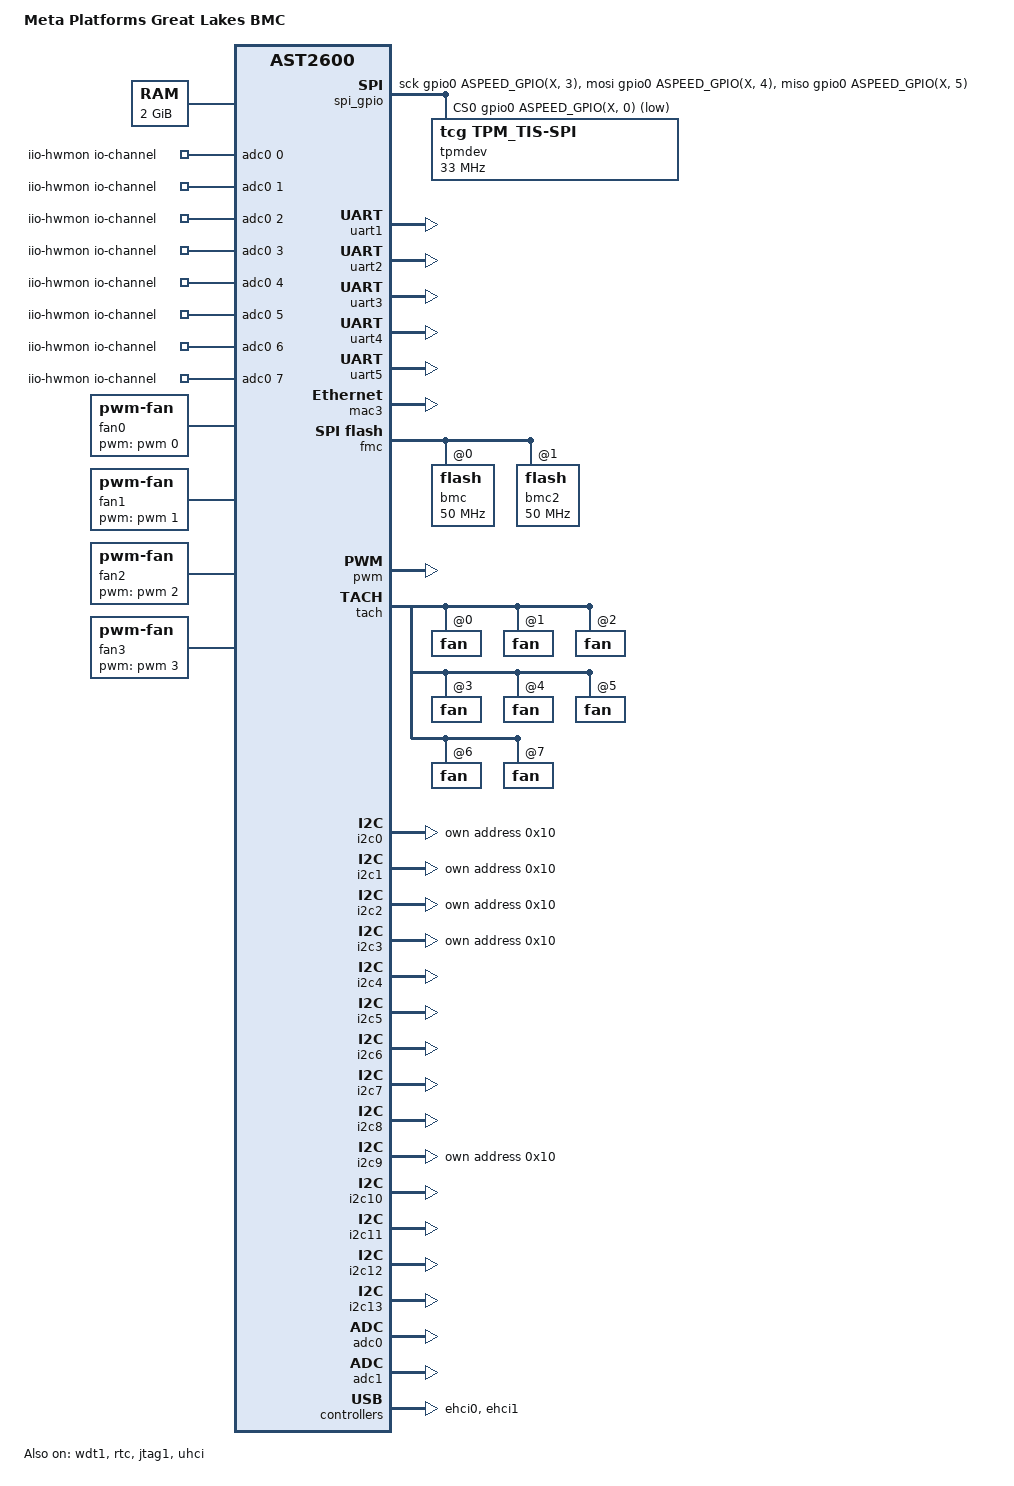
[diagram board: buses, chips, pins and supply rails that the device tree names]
// SPDX-License-Identifier: GPL-2.0-or-later

/dts-v1/;
#include "aspeed-g6.dtsi"
#include <dt-bindings/gpio/aspeed-gpio.h>
#include <dt-bindings/i2c/i2c.h>
#include <dt-bindings/leds/leds-pca955x.h>

/ {
	model = "Meta Platforms Great Lakes BMC";
	compatible = "aspeed,ast2600";

	aliases {
		serial4 = &uart5;
	};

	chosen {
		stdout-path = &uart5;
		bootargs = "console=ttyS4,57600n8 root=/dev/ram rw vmalloc=384M";
	};

	memory@80000000 {
		device_type = "memory";
		reg = <0x80000000 0x80000000>;
	};

	iio-hwmon {
		compatible = "iio-hwmon";
		io-channels = <&adc0 0>, <&adc0 1>, <&adc0 2>, <&adc0 3>,
			      <&adc0 4>, <&adc0 5>, <&adc0 6>, <&adc0 7>,
			      <&adc1 0>, <&adc1 2>, <&adc1 3>, <&adc1 4>,
			      <&adc1 5>, <&adc1 6>;
	};

        fan0: pwm-fan0 {
                compatible = "pwm-fan";
                pwms = <&pwm 0 40000 0>;        /* Target freq:25 kHz */
                cooling-min-state = <0>;
                cooling-max-state = <3>;
                #cooling-cells = <2>;
                cooling-levels = <0 25 128 255>;
        };

        fan1: pwm-fan1 {
                compatible = "pwm-fan";
                pwms = <&pwm 1 40000 0>;        /* Target freq:25 kHz */
                cooling-min-state = <0>;
                cooling-max-state = <3>;
                #cooling-cells = <2>;
                cooling-levels = <0 15 128 255>;
        };

        fan2: pwm-fan2 {
                compatible = "pwm-fan";
                pwms = <&pwm 2 40000 0>;        /* Target freq:25 kHz */
                cooling-min-state = <0>;
                cooling-max-state = <3>;
                #cooling-cells = <2>;
                cooling-levels = <0 15 128 255>;
        };

        fan3: pwm-fan3 {
                compatible = "pwm-fan";
                pwms = <&pwm 3 40000 0>;        /* Target freq:25 kHz */
                cooling-min-state = <0>;
                cooling-max-state = <3>;
                #cooling-cells = <2>;
                cooling-levels = <0 15 128 255>;
        };

        spi_gpio: spi-gpio {
                status = "okay";
                compatible = "spi-gpio";
                #address-cells = <1>;
                #size-cells = <0>;

                gpio-sck = <&gpio0 ASPEED_GPIO(X, 3) GPIO_ACTIVE_HIGH>;
                gpio-mosi = <&gpio0 ASPEED_GPIO(X, 4) GPIO_ACTIVE_HIGH>;
                gpio-miso = <&gpio0 ASPEED_GPIO(X, 5) GPIO_ACTIVE_HIGH>;
                num-chipselects = <1>;
                cs-gpios = <&gpio0 ASPEED_GPIO(X, 0) GPIO_ACTIVE_LOW>;

                tpmdev@0 {
                        compatible = "tcg,tpm_tis-spi";
                        spi-max-frequency = <33000000>;
                        reg = <0>;
                };
        };
};

&uart1 {
	status = "okay";
};

&uart2 {
	status = "okay";
};

&uart3 {
	status = "okay";
};

&uart4 {
	status = "okay";
};

&uart5 {
	status = "okay";
};

&wdt1 {
	status = "okay";
	pinctrl-names = "default";
	pinctrl-0 = <&pinctrl_wdtrst1_default>;
	aspeed,reset-type = "soc";
	aspeed,external-signal;
	aspeed,ext-push-pull;
	aspeed,ext-active-high;
	aspeed,ext-pulse-duration = <256>;
};

&mac3 {
	status = "okay";

	pinctrl-names = "default";
	pinctrl-0 = <&pinctrl_rmii4_default>;
	no-hw-checksum;
	use-ncsi;
	mlx,multi-host;
	ncsi-ctrl,start-redo-probe;
	ncsi-ctrl,no-channel-monitor;
	ncsi-package = <1>;
	ncsi-channel = <1>;
	ncsi-rexmit = <1>;
	ncsi-timeout = <2>;
};

&rtc {
	status = "okay";
};

&fmc {
	status = "okay";
	flash@0 {
		status = "okay";
		m25p,fast-read;
		label = "bmc";
		spi-rx-bus-width = <4>;
		spi-max-frequency = <50000000>;
#include "openbmc-flash-layout-64.dtsi"
	};

	flash@1 {
		status = "okay";
		m25p,fast-read;
		label = "bmc2";
		spi-rx-bus-width = <4>;
		spi-max-frequency = <50000000>;
	};
};

&pwm {
        status = "okay";
        pinctrl-names = "default";
        pinctrl-0 = <&pinctrl_pwm0_default
                     &pinctrl_pwm1_default
                     &pinctrl_pwm2_default
                     &pinctrl_pwm3_default>;
};

&tach {
        status = "okay";
        pinctrl-names = "default";
        pinctrl-0 = <&pinctrl_tach0_default
                     &pinctrl_tach1_default
                     &pinctrl_tach2_default
                     &pinctrl_tach3_default
                     &pinctrl_tach4_default
                     &pinctrl_tach5_default
                     &pinctrl_tach6_default
                     &pinctrl_tach7_default>;
        fan@0 {
                aspeed,min-rpm = <30>;
                aspeed,tach-ch = <0x00>;
        };

        fan@1 {
                aspeed,min-rpm = <30>;
                aspeed,tach-ch = <0x01>;
        };
        fan@2 {
                aspeed,min-rpm = <30>;
                aspeed,tach-ch = <0x02>;
        };

        fan@3 {
                aspeed,min-rpm = <30>;
                aspeed,tach-ch = <0x03>;
        };
        fan@4 {
                aspeed,min-rpm = <30>;
                aspeed,tach-ch = <0x04>;
        };

        fan@5 {
                aspeed,min-rpm = <30>;
                aspeed,tach-ch = <0x05>;
        };
        fan@6 {
                aspeed,min-rpm = <30>;
                aspeed,tach-ch = <0x06>;
        };

        fan@7 {
                aspeed,min-rpm = <30>;
                aspeed,tach-ch = <0x07>;
        };

};

&i2c0 {
	status = "okay";
	multi-master;
	ipmb0@10 {
		compatible = "ipmb-dev";
		reg = <(0x10 | I2C_OWN_SLAVE_ADDRESS)>;
		i2c-protocol;
	};
};

&i2c1 {
	status = "okay";
	multi-master;
	ipmb1@10 {
		compatible = "ipmb-dev";
		reg = <(0x10 | I2C_OWN_SLAVE_ADDRESS)>;
		i2c-protocol;
	};
};

&i2c2 {
	status = "okay";
	multi-master;
	ipmb2@10 {
		compatible = "ipmb-dev";
		reg = <(0x10 | I2C_OWN_SLAVE_ADDRESS)>;
		i2c-protocol;
	};
};

&i2c3 {
	status = "okay";
	multi-master;
	ipmb3@10 {
		compatible = "ipmb-dev";
		reg = <(0x10 | I2C_OWN_SLAVE_ADDRESS)>;
		i2c-protocol;
	};
};

&i2c4 {
	status = "okay";
};

&i2c5 {
	status = "okay";
};

&i2c6 {
	status = "okay";
};

&i2c7 {
	status = "okay";
};

&i2c8 {
	status = "okay";
};

&i2c9 {
	status = "okay";
	multi-master;
	ipmb9@10 {
		compatible = "ipmb-dev";
		reg = <(0x10 | I2C_OWN_SLAVE_ADDRESS)>;
		i2c-protocol;
	};
};

&i2c10 {
	status = "okay";
};

&i2c11 {
	status = "okay";
};

&i2c12 {
	status = "okay";
};

&i2c13 {
	status = "okay";
};

&adc0 {
	ref_voltage = <2500>;
	status = "okay";

	pinctrl-0 = <&pinctrl_adc0_default &pinctrl_adc1_default
		     &pinctrl_adc2_default &pinctrl_adc3_default
		     &pinctrl_adc4_default &pinctrl_adc5_default
		     &pinctrl_adc6_default &pinctrl_adc7_default>;
};

&adc1 {
	ref_voltage = <2500>;
	status = "okay";

	pinctrl-0 = <&pinctrl_adc8_default &pinctrl_adc10_default
		     &pinctrl_adc11_default &pinctrl_adc12_default
		     &pinctrl_adc13_default &pinctrl_adc14_default>;
};

&jtag1 {
       status = "okay";
       pinctrl-names = "default";
       pinctrl-0 = <&pinctrl_jtagm_default>;
};

&ehci0 {
	status = "okay";
};

&ehci1 {
	status = "okay";
};

&uhci {
	status = "okay";
};
